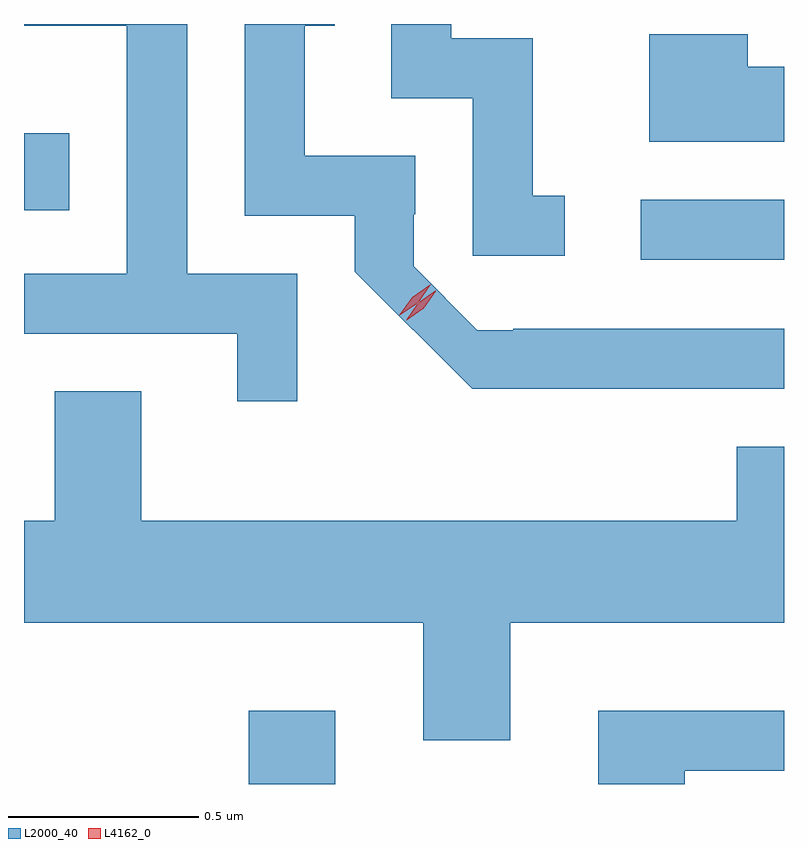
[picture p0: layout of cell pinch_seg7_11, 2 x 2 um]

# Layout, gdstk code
import gdstk
lib = gdstk.Library(unit=1e-6, precision=1e-09)
def R(c, l, rs):  # rectangles x0, y0, x1, y1
    for r in rs: c.add(gdstk.rectangle(r[:2], r[2:], *l))
def P(c, l, *ps):  # polygons
    for p in ps: c.add(gdstk.Polygon(p, *l))
L2000_40 = (2000, 40)
L4162_0 = (4162, 0)

pinch_seg7_11 = lib.new_cell('pinch_seg7_11')
R(pinch_seg7_11, L2000_40, [(1537.331,1731.651,1537.559,1731.844), (1538.363,1733.031,1538.74,1733.189), (1536.74,1733.161,1536.859,1733.364)])
P(pinch_seg7_11, L2000_40, [(1537.459,1732.994),(1537.169,1732.994),(1537.169,1733.651),(1536.74,1733.651),(1536.74,1733.646),(1537.011,1733.646),(1537.011,1732.994),(1536.74,1732.994),(1536.74,1732.836),(1537.301,1732.836),(1537.301,1732.658),(1537.459,1732.658)],
  [(1538.163,1733.199),(1538.079,1733.199),(1538.079,1733.614),(1537.864,1733.614),(1537.864,1733.651),(1537.706,1733.651),(1537.706,1733.456),(1537.921,1733.456),(1537.921,1733.041),(1538.163,1733.041)],
  [(1538.74,1732.849),(1538.027,1732.849),(1538.027,1732.845),(1537.933,1732.845),(1537.765,1733.013),(1537.765,1733.15),(1537.769,1733.15),(1537.769,1733.304),(1537.479,1733.304),(1537.479,1733.646),(1537.558,1733.646),(1537.558,1733.651),(1537.321,1733.651),(1537.321,1733.146),(1537.611,1733.146),(1537.611,1732.999),(1537.919,1732.691),(1538.74,1732.691)],
  [(1538.74,1733.539),(1538.644,1733.539),(1538.644,1733.624),(1538.386,1733.624),(1538.386,1733.341),(1538.74,1733.341)],
  [(1538.019,1732.076),(1538.74,1732.076),(1538.74,1732.539),(1538.616,1732.539),(1538.616,1732.344),(1537.049,1732.344),(1537.049,1732.684),(1536.821,1732.684),(1536.821,1732.344),(1536.74,1732.344),(1536.74,1732.076),(1537.791,1732.076),(1537.791,1731.766),(1538.019,1731.766)],
  [(1538.479,1731.686),(1538.74,1731.686),(1538.74,1731.844),(1538.251,1731.844),(1538.251,1731.651),(1538.479,1731.651)])
P(pinch_seg7_11, L4162_0, [(1537.728,1732.884),(1537.728,1732.885),(1537.762,1732.932),(1537.81,1732.966),(1537.811,1732.966),(1537.811,1732.966),(1537.777,1732.918),(1537.729,1732.884)],
  [(1537.746,1732.872),(1537.746,1732.872),(1537.778,1732.917),(1537.822,1732.949),(1537.823,1732.949),(1537.823,1732.948),(1537.792,1732.903),(1537.747,1732.872)])

lib.write_gds('pinch_seg7_11.gds')
